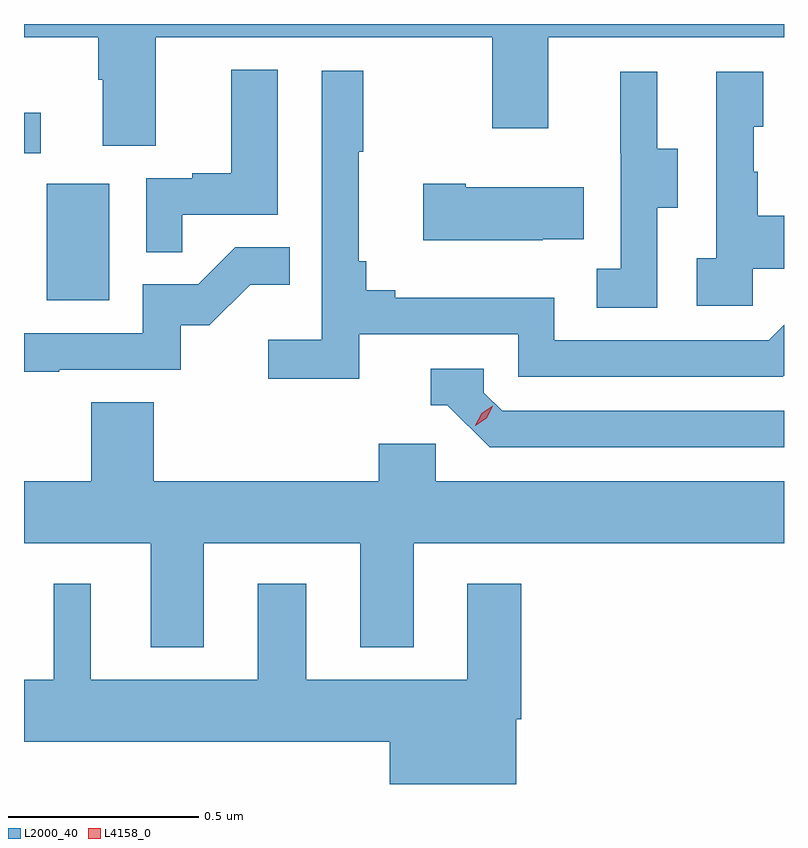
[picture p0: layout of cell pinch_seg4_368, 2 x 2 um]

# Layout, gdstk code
import gdstk
lib = gdstk.Library(unit=1e-6, precision=1e-09)
def R(c, l, rs):  # rectangles x0, y0, x1, y1
    for r in rs: c.add(gdstk.rectangle(r[:2], r[2:], *l))
def P(c, l, *ps):  # polygons
    for p in ps: c.add(gdstk.Polygon(p, *l))
L2000_40 = (2000, 40)
L4158_0 = (4158, 0)

pinch_seg4_368 = lib.new_cell('pinch_seg4_368')
R(pinch_seg4_368, L2000_40, [(964.742,792.132,964.906,792.439), (964.682,792.519,964.726,792.625)])
P(pinch_seg4_368, L2000_40, [(965.029,792.824),(965.914,792.824),(965.914,792.585),(966.061,792.585),(966.061,792.824),(966.682,792.824),(966.682,792.859),(964.682,792.859),(964.682,792.824),(964.877,792.824),(964.877,792.712),(964.889,792.712),(964.889,792.538),(965.029,792.538)],
  [(965.099,792.357),(965.35,792.357),(965.35,792.739),(965.228,792.739),(965.228,792.466),(965.125,792.466),(965.125,792.453),(965.004,792.453),(965.004,792.259),(965.099,792.259)],
  [(965.564,792.042),(965.982,792.042),(965.982,791.931),(966.679,791.931),(966.682,791.934),(966.682,792.067),(966.642,792.027),(966.078,792.027),(966.078,792.139),(965.659,792.139),(965.659,792.158),(965.582,792.158),(965.582,792.235),(965.563,792.235),(965.563,792.523),(965.575,792.523),(965.575,792.736),(965.466,792.736),(965.466,792.028),(965.325,792.028),(965.325,791.926),(965.564,791.926)],
  [(966.348,792.376),(966.403,792.376),(966.403,792.531),(966.349,792.531),(966.349,792.733),(966.251,792.733),(966.251,792.519),(966.252,792.519),(966.252,792.215),(966.189,792.215),(966.189,792.112),(966.348,792.112)],
  [(966.6,792.215),(966.682,792.215),(966.682,792.355),(966.613,792.355),(966.613,792.47),(966.603,792.47),(966.603,792.588),(966.628,792.588),(966.628,792.733),(966.504,792.733),(966.504,792.242),(966.453,792.242),(966.453,792.117),(966.6,792.117)],
  [(966.047,792.293),(966.155,792.293),(966.155,792.43),(965.845,792.43),(965.845,792.438),(965.733,792.438),(965.733,792.29),(966.047,792.29)],
  [(964.775,791.949),(965.094,791.949),(965.094,792.066),(965.17,792.066),(965.277,792.173),(965.381,792.173),(965.381,792.272),(965.238,792.272),(965.14,792.174),(964.995,792.174),(964.995,792.045),(964.682,792.045),(964.682,791.944),(964.775,791.944)],
  [(966.682,791.841),(965.94,791.841),(965.892,791.889),(965.892,791.952),(965.753,791.952),(965.753,791.856),(965.796,791.856),(965.907,791.745),(966.682,791.745)],
  [(965.155,791.492),(965.567,791.492),(965.567,791.219),(965.707,791.219),(965.707,791.492),(966.682,791.492),(966.682,791.656),(965.766,791.656),(965.766,791.754),(965.615,791.754),(965.615,791.656),(965.024,791.656),(965.024,791.864),(964.859,791.864),(964.859,791.656),(964.682,791.656),(964.682,791.492),(965.015,791.492),(965.015,791.219),(965.155,791.219)],
  [(965.977,791.03),(965.99,791.03),(965.99,791.386),(965.849,791.386),(965.849,791.134),(965.425,791.134),(965.425,791.386),(965.297,791.386),(965.297,791.134),(964.858,791.134),(964.858,791.386),(964.76,791.386),(964.76,791.134),(964.682,791.134),(964.682,790.97),(965.645,790.97),(965.645,790.859),(965.977,790.859)])
P(pinch_seg4_368, L4158_0, [(965.869,791.802),(965.869,791.803),(965.886,791.835),(965.916,791.855),(965.916,791.855),(965.916,791.854),(965.9,791.822),(965.87,791.802)])

lib.write_gds('pinch_seg4_368.gds')
